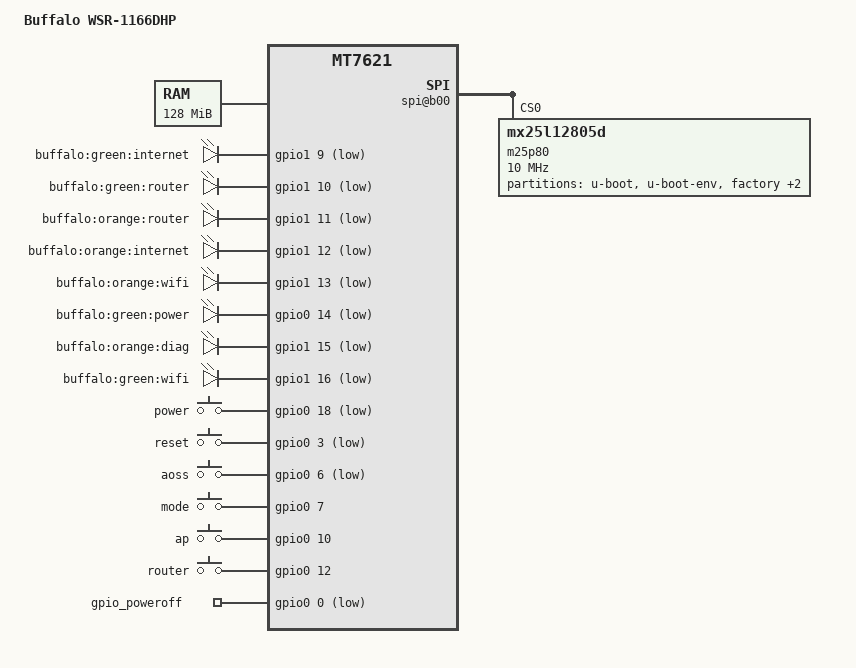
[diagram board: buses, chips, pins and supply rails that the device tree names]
/dts-v1/;

/include/ "mt7621.dtsi"

/ {
	compatible = "ralink,mt7621-eval-board", "ralink,mt7621-soc";
	model = "Buffalo WSR-1166DHP";

	memory@0 {
		reg = <0x0 0x8000000>;
	};

	chosen {
		bootargs = "console=ttyS0,57600";
	};

	palmbus@1E000000 {
		spi@b00 {
			status = "okay";

			m25p80@0 {
				#address-cells = <1>;
				#size-cells = <1>;
				compatible = "mx25l12805d";
				reg = <0 0>;
				linux,modalias = "m25p80";
				spi-max-frequency = <10000000>;

				partition@0 {
					label = "u-boot";
					reg = <0x0 0x30000>;
					read-only;
				};

				partition@30000 {
					label = "u-boot-env";
					reg = <0x30000 0x10000>;
					read-only;
				};

				factory: partition@40000 {
					label = "factory";
					reg = <0x40000 0x10000>;
					read-only;
				};

				partition@50000 {
					label = "firmware";
					reg = <0x50000 0x6b0000>;
				};

				partition@f700000 {
					label = "usercfg";
					reg = <0x700000 0x100000>;
				};
			};
		};
	};

	pinctrl {
		state_default: pinctrl0 {
			gpio {
				ralink,group = "i2c", "uart2", "uart3", "rgmii2", "sdhci";
				ralink,function = "gpio";
			};
		};
	};

	gpio-leds {
		compatible = "gpio-leds";
		internet_g {
			label = "buffalo:green:internet";
			gpios = <&gpio1 9 1>;
		};
		router_g {
			label = "buffalo:green:router";
			gpios = <&gpio1 10 1>;
		};
		router_o {
			label = "buffalo:orange:router";
			gpios = <&gpio1 11 1>;
		};
		internet_o {
			label = "buffalo:orange:internet";
			gpios = <&gpio1 12 1>;
		};
		wifi_o {
			label = "buffalo:orange:wifi";
			gpios = <&gpio1 13 1>;
		};
		power {
			label = "buffalo:green:power";
			gpios = <&gpio0 14 1>;
		};
		diag {
			label = "buffalo:orange:diag";
			gpios = <&gpio1 15 1>;
		};
		wifi_g {
			label = "buffalo:green:wifi";
			gpios = <&gpio1 16 1>;
		};
	};

	gpio-keys-polled {
		compatible = "gpio-keys-polled";
		#address-cells = <1>;
		#size-cells = <0>;
		poll-interval = <20>;
		power {
			label = "power";
			gpios = <&gpio0 18 1>;
			linux,code = <0x74>;
		};
		reset {
			label = "reset";
			gpios = <&gpio0 3 1>;
			linux,code = <0x198>;
		};
		aoss {
			label = "aoss";
			gpios = <&gpio0 6 1>;
			linux,code = <0x211>;
		};
		auto {
			label = "mode";
			gpios = <&gpio0 7 0>;
			linux,code = <0x100>;
			linux,input-type = <5>; /* EV_SW */
		};
		ap {
			label = "ap";
			gpios = <&gpio0 10 0>;
			linux,code = <0x100>;
			linux,input-type = <5>; /* EV_SW */
		};
		router {
			label = "router";
			gpios = <&gpio0 12 0>;
			linux,code = <0x100>;
			linux,input-type = <5>; /* EV_SW */
		};
	};

	gpio_poweroff {
		compatible = "gpio-poweroff";
		gpios = <&gpio0 0 1>;
	};
};
